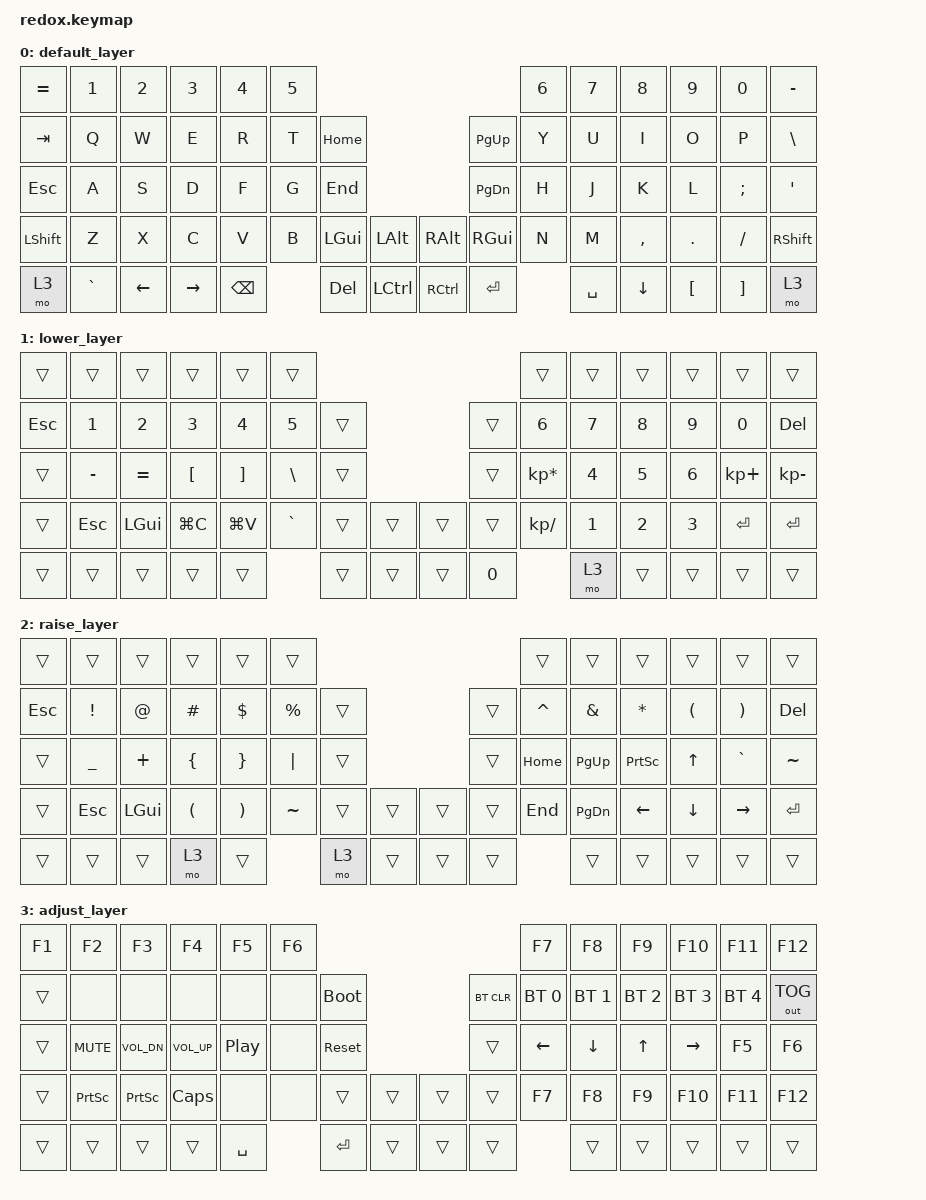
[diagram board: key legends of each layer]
/*
 * Copyright (c) 2021 The ZMK Contributors
 *
 * SPDX-License-Identifier: MIT
 */

#include <behaviors.dtsi>
#include <dt-bindings/zmk/bt.h>
#include <dt-bindings/zmk/keys.h>
#include <dt-bindings/zmk/outputs.h>

/ {
    keymap {
        compatible = "zmk,keymap";

        default_layer {
            // --------------------------------------------------------------------------------------------------------------------------------
            // | ESC   |  1  |  2  |   3   |  4  |  5  |                   ---                |  6    |  7    |  8    |  9   | 0  |    BSPC   |
            // | TAB   |  Q  |  W  |   E   |  R  |  T  |   (   |           ---        |  )    |  Y    |  U    |  I    |  O   | P  |     -     |
            // | CTRL  |  A  |  S  |   D   |  F  |  G  |   [   |           ---        |  ]    |  H    |  J    |  K    |  L   | ;  |     '     |
            // | SHIFT |  Z  |  X  |   C   |  V  |  B  | PG_UP | PG_DOWN | --- | HOME | END   |  N    |  M    |  ,    |  .   | /  | SHFT(RET) |
            // | CRTL  | ALT | GUI | LOWER |    GUI    | LOWER | SPACE   | --- | DEL  | SPACE |     RAISE     | LEFT  | DOWN | UP |   RIGHT   |

            bindings = <
&kp EQUAL  &kp N1     &kp N2    &kp N3     &kp N4         &kp N5                                                                      &kp N6  &kp N7     &kp N8          &kp N9            &kp N0             &kp MINUS
&kp TAB    &kp Q      &kp W     &kp E      &kp R          &kp T   &kp HOME                                             &kp PAGE_UP    &kp Y   &kp U      &kp I           &kp O             &kp P              &kp BACKSLASH
&kp ESC    &kp A      &kp S     &kp D      &kp F          &kp G   &kp END                                              &kp PAGE_DOWN  &kp H   &kp J      &kp K           &kp L             &kp SEMI           &kp SQT
&kp LSHFT  &kp Z      &kp X     &kp C      &kp V          &kp B   &kp LEFT_GUI  &kp LEFT_ALT        &kp RIGHT_ALT      &kp RIGHT_GUI  &kp N   &kp M      &kp COMMA       &kp DOT           &kp FSLH           &kp RSHFT
&mo 3      &kp GRAVE  &kp LEFT  &kp RIGHT  &kp BACKSPACE          &kp DELETE    &kp LEFT_CONTROL    &kp RIGHT_CONTROL  &kp ENTER              &kp SPACE  &kp DOWN_ARROW  &kp LEFT_BRACKET  &kp RIGHT_BRACKET  &mo 3
            >;
        };

        lower_layer {
            // --------------------------------------------------------------------------------------------------------------------------
            // | ESC   |  1  |  2  |   3   |   4   |  5  |                   ---              |  6  |  7  |   8  |  9   |  0  |  DEL  |
            // | ESC   |  1  |  2  |   3   |   4   |  5  |   (   |           ---        |  )  |  6  |  7  |   8  |  9   |  0  |  DEL  |
            // | CTRL  |  -  |  =  |   [   |   ]   |  \  |   [   |           ---        |  ]  |  *  |  4  |   5  |  6   |  +  |   -   |
            // | SHIFT | ESC | GUI | COPY  | PASTE |     | PG_UP | PG_DOWN | --- | HOME | END |  \  |  1  |   2  |  3   | RET |  RET  |
            // | CRTL  | ALT | GUI | LOWER |     GUI     | LOWER | SPACE   | --- | DEL  |  0  |    RAISE  | LEFT | DOWN | UP  | RIGHT |

            bindings = <
&trans   &trans     &trans     &trans     &trans     &trans                                       &trans           &trans  &trans  &trans  &trans       &trans
&kp ESC  &kp N1     &kp N2     &kp N3     &kp N4     &kp N5     &trans                    &trans  &kp N6           &kp N7  &kp N8  &kp N9  &kp N0       &kp DEL
&trans   &kp MINUS  &kp EQUAL  &kp LBKT   &kp RBKT   &kp BSLH   &trans                    &trans  &kp KP_MULTIPLY  &kp N4  &kp N5  &kp N6  &kp KP_PLUS  &kp KP_MINUS
&trans   &kp ESC    &kp LGUI   &kp LG(C)  &kp LG(V)  &kp GRAVE  &trans  &trans    &trans  &trans  &kp KP_DIVIDE    &kp N1  &kp N2  &kp N3  &kp RET      &kp RET
&trans   &trans     &trans     &trans     &trans                &trans  &trans    &trans  &kp N0                   &mo 3   &trans  &trans  &trans       &trans
            >;
        };

        raise_layer {
            // ----------------------------------------------------------------------------------------------------------------------------
            // | ESC   |  1  |  2  |   3   |  4  |  5  |                   ---                |  6   |  7   |  8   |  9   |  0    |  DEL  |
            // | ESC   |  !  |  @  |   #   |  $  |  %  |   (   |           ---        |  )    |  ^   |  &   |  *   |  (   |  )    |  DEL  |
            // | CTRL  |  _  |  +  |   {   |  }  | "|" |   [   |           ---        |  ]    | HOME | PGUP | PRSC | UP   |  `    |   ~   |
            // | SHIFT | ESC | GUI |   (   |  )  |     | PG_UP | PG_DOWN | --- | HOME | END   | END  | PGDN | LEFT | DOWN | RIGHT |  RET  |
            // | CRTL  | ALT | GUI | LOWER |    GUI    | LOWER | SPACE   | --- | DEL  | SPACE |    RAISE    | LEFT | DOWN | UP    | RIGHT |

            bindings = <
&trans   &trans     &trans    &trans    &trans    &trans                                       &trans     &trans     &trans     &trans    &trans     &trans
&kp ESC  &kp EXCL   &kp AT    &kp HASH  &kp DLLR  &kp PRCNT  &trans                    &trans  &kp CARET  &kp AMPS   &kp ASTRK  &kp LPAR  &kp RPAR   &kp DEL
&trans   &kp UNDER  &kp PLUS  &kp LBRC  &kp RBRC  &kp PIPE   &trans                    &trans  &kp HOME   &kp PG_UP  &kp PSCRN  &kp UP    &kp GRAVE  &kp TILDE
&trans   &kp ESC    &kp LGUI  &kp LPAR  &kp RPAR  &kp TILDE  &trans  &trans    &trans  &trans  &kp END    &kp PG_DN  &kp LEFT   &kp DOWN  &kp RIGHT  &kp RET
&trans   &trans     &trans    &mo 3     &trans               &mo 3   &trans    &trans  &trans             &trans     &trans     &trans    &trans     &trans
            >;
        };

        adjust_layer {
            // -----------------------------------------------------------------------------------------
            // |  F1   |  F2   |    F3    |    F4     |     F5     | F6 |                   ---                | F7  | F8  |  F9  |  F10 | F11 | F12        |
            // | TAB   |       |          |           |            |    | BOOTL |           ---        |  )    | BT1 | BT2 |  BT3 |  BT4 | BT5 | OUTPUT TGL |
            // | CTRL  | MUTE  |  Vol Dn  |  Vol Up   | Play/Pause |    | RESET |           ---        |  ]    | F1  | F2  |  F3  |  F4  | F5  | F6         |
            // | SHIFT | PSCRN |  PSCRN   |   CAPS    |            |    | PG_UP | PG_DOWN | --- | HOME | END   | F7  | F8  |  F9  |  F10 | F11 | F12        |
            // | CRTL  | ALT   |  GUI     |   LOWER   |      GUI        | LOWER | SPACE   | --- | DEL  | SPACE |   RAISE   | LEFT | DOWN | UP  |   RIGHT    |

            bindings = <
&kp F1  &kp F2      &kp F3        &kp F4        &kp F5            &kp F6                                             &kp F7          &kp F8          &kp F9        &kp F10          &kp F11       &kp F12
&trans  &none       &none         &none         &none             &none   &bootloader                    &bt BT_CLR  &bt BT_SEL 0    &bt BT_SEL 1    &bt BT_SEL 2  &bt BT_SEL 3     &bt BT_SEL 4  &out OUT_TOG
&trans  &kp K_MUTE  &kp C_VOL_DN  &kp C_VOL_UP  &kp C_PLAY_PAUSE  &none   &sys_reset                     &trans      &kp LEFT_ARROW  &kp DOWN_ARROW  &kp UP_ARROW  &kp RIGHT_ARROW  &kp F5        &kp F6
&trans  &kp PSCRN   &kp PSCRN     &kp CLCK      &none             &none   &trans       &trans    &trans  &trans      &kp F7          &kp F8          &kp F9        &kp F10          &kp F11       &kp F12
&trans  &trans      &trans        &trans        &kp SPACE                 &kp ENTER    &trans    &trans  &trans                      &trans          &trans        &trans           &trans        &trans
            >;
        };
    };
};
